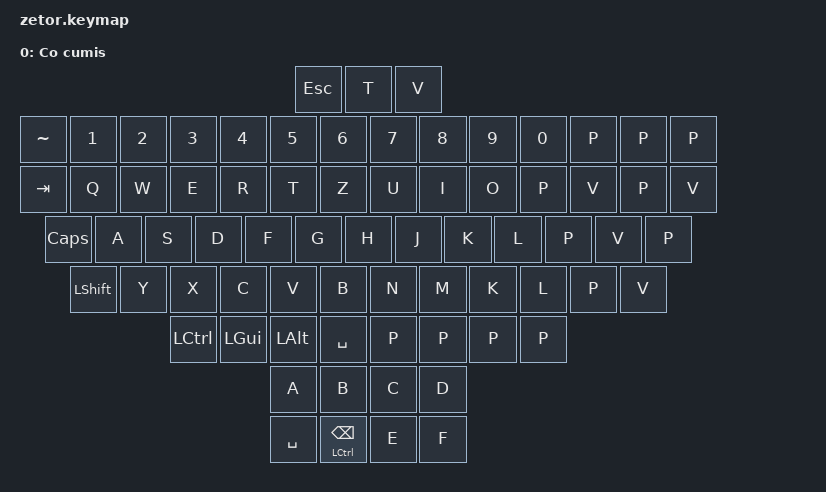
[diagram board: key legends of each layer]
/*
 * Copyright (c) 2020 The ZMK Contributors
 *
 * SPDX-License-Identifier: MIT
 */

#include <behaviors.dtsi>
#include <dt-bindings/zmk/keys.h>
#include <dt-bindings/zmk/bt.h>
#include <dt-bindings/zmk/ext_power.h>
&mt { quick-tap-ms = <200>; };
/ {
    keymap {
        compatible = "zmk,keymap";
        default_layer {
            display-name = "Co cumis";
            bindings = <
&kp ESC                                                                                       &kp T  &kp V
&kp TILDE &kp N1   &kp N2    &kp N3 &kp N4 &kp N5      &kp N6 &kp N7 &kp N8 &kp N9 &kp N0 &kp P &kp P &kp P
&kp TAB        &kp Q    &kp W     &kp E  &kp R  &kp T       &kp Z  &kp U  &kp I  &kp O  &kp P  &kp V &kp P &kp V
&kp CAPS       &kp A    &kp S     &kp D  &kp F  &kp G       &kp H  &kp J  &kp K  &kp L  &kp P  &kp V &kp P
&kp LSHFT      &kp Y    &kp X     &kp C  &kp V  &kp B       &kp N  &kp M  &kp K  &kp L  &kp P  &kp V
&kp LCTRL      &kp LGUI &kp LALT  &kp SPACE                               &kp P &kp P &kp P &kp P
                                   &kp A &kp B              &kp C  &kp D
                                   &kp SPACE &mt LCTRL BSPC       &kp E &kp F
            >;
        };
    };
};
